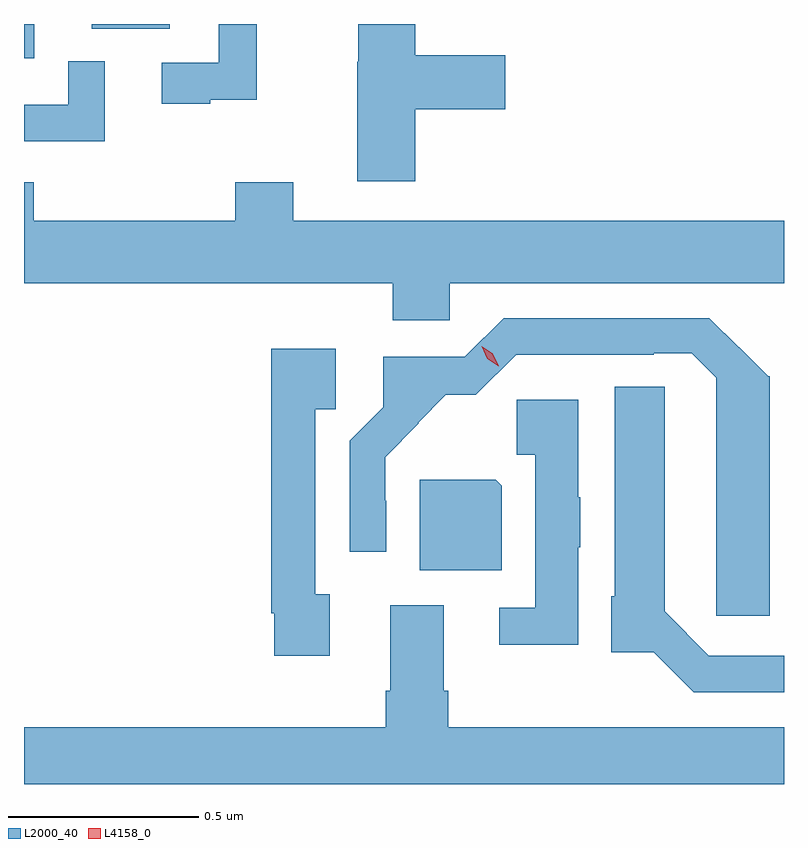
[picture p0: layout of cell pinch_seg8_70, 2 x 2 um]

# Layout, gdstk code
import gdstk
lib = gdstk.Library(unit=1e-6, precision=1e-09)
def R(c, l, rs):  # rectangles x0, y0, x1, y1
    for r in rs: c.add(gdstk.rectangle(r[:2], r[2:], *l))
def P(c, l, *ps):  # polygons
    for p in ps: c.add(gdstk.Polygon(p, *l))
L2000_40 = (2000, 40)
L4158_0 = (4158, 0)

pinch_seg8_70 = lib.new_cell('pinch_seg8_70')
R(pinch_seg8_70, L2000_40, [(882.193,1093.116,882.22,1093.206), (882.371,1093.193,882.577,1093.206)])
P(pinch_seg8_70, L2000_40, [(883.223,1092.982),(883.459,1092.982),(883.459,1093.124),(883.223,1093.124),(883.223,1093.206),(883.073,1093.206),(883.073,1093.107),(883.07,1093.107),(883.07,1092.792),(883.223,1092.792)],
  [(882.683,1093.007),(882.806,1093.007),(882.806,1093.206),(882.705,1093.206),(882.705,1093.104),(882.555,1093.104),(882.555,1092.996),(882.683,1092.996)],
  [(882.406,1093.108),(882.309,1093.108),(882.309,1092.993),(882.193,1092.993),(882.193,1092.897),(882.406,1092.897)],
  [(883.314,1092.524),(884.193,1092.524),(884.193,1092.688),(882.901,1092.688),(882.901,1092.79),(882.749,1092.79),(882.749,1092.688),(882.218,1092.688),(882.218,1092.79),(882.193,1092.79),(882.193,1092.524),(883.163,1092.524),(883.163,1092.426),(883.314,1092.426)],
  [(884.155,1092.279),(884.152,1092.279),(884.075,1092.356),(884.074,1092.355),(883.996,1092.432),(883.455,1092.432),(883.353,1092.33),(883.139,1092.33),(883.139,1092.198),(883.05,1092.109),(883.05,1091.817),(883.146,1091.817),(883.146,1091.951),(883.143,1091.951),(883.143,1092.066),(883.232,1092.155),(883.23,1092.157),(883.303,1092.23),(883.382,1092.23),(883.488,1092.336),(883.85,1092.336),(883.85,1092.339),(883.95,1092.339),(884.015,1092.275),(884.015,1091.649),(884.155,1091.649)],
  [(882.997,1091.705),(882.96,1091.705),(882.96,1092.192),(883.013,1092.192),(883.013,1092.352),(882.843,1092.352),(882.843,1092.045),(882.844,1092.045),(882.844,1091.656),(882.852,1091.656),(882.852,1091.544),(882.997,1091.544)],
  [(884.193,1091.544),(883.995,1091.544),(883.879,1091.66),(883.879,1092.251),(883.748,1092.251),(883.748,1091.7),(883.739,1091.7),(883.739,1091.553),(883.85,1091.553),(883.955,1091.448),(884.193,1091.448)],
  [(883.651,1091.829),(883.657,1091.829),(883.657,1091.961),(883.651,1091.961),(883.651,1092.217),(883.49,1092.217),(883.49,1092.072),(883.538,1092.072),(883.538,1091.67),(883.443,1091.67),(883.443,1091.573),(883.651,1091.573)],
  [(883.45,1091.991),(883.434,1092.007),(883.235,1092.007),(883.235,1091.768),(883.45,1091.768)],
  [(884.193,1091.356),(883.31,1091.356),(883.31,1091.452),(883.297,1091.452),(883.297,1091.677),(883.157,1091.677),(883.157,1091.452),(883.145,1091.452),(883.145,1091.356),(882.193,1091.356),(882.193,1091.206),(884.193,1091.206)])
P(pinch_seg8_70, L4158_0, [(883.442,1092.305),(883.412,1092.325),(883.397,1092.358),(883.397,1092.358),(883.397,1092.358),(883.427,1092.338),(883.442,1092.306),(883.442,1092.305)])

lib.write_gds('pinch_seg8_70.gds')
